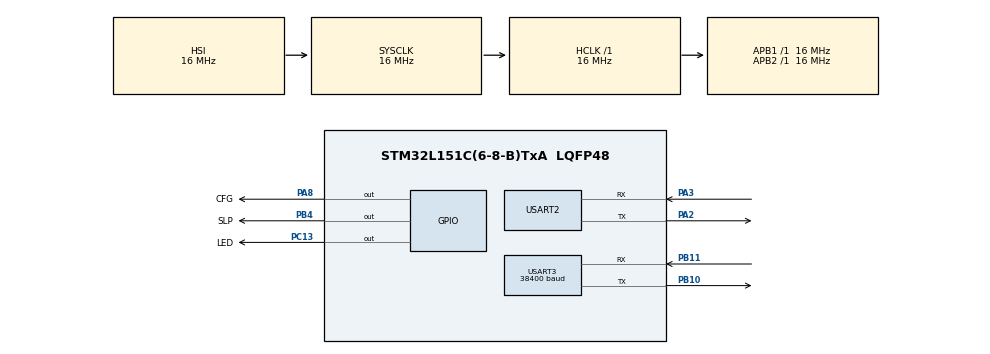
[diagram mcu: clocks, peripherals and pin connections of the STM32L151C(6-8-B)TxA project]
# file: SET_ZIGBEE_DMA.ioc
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Dma.Request0=USART3_RX
Dma.Request1=USART3_TX
Dma.Request2=USART2_RX
Dma.Request3=USART2_TX
Dma.USART2_RX.2.Direction=DMA_PERIPH_TO_MEMORY
Dma.USART2_RX.2.Instance=DMA1_Channel6
Dma.USART2_RX.2.MemDataAlignment=DMA_MDATAALIGN_BYTE
Dma.USART2_RX.2.MemInc=DMA_MINC_ENABLE
Dma.USART2_RX.2.Mode=DMA_NORMAL
Dma.USART2_RX.2.PeriphDataAlignment=DMA_PDATAALIGN_BYTE
Dma.USART2_RX.2.PeriphInc=DMA_PINC_DISABLE
Dma.USART2_RX.2.Priority=DMA_PRIORITY_LOW
Dma.USART2_TX.3.Direction=DMA_MEMORY_TO_PERIPH
Dma.USART2_TX.3.Instance=DMA1_Channel7
Dma.USART2_TX.3.MemDataAlignment=DMA_MDATAALIGN_BYTE
Dma.USART2_TX.3.MemInc=DMA_MINC_ENABLE
Dma.USART2_TX.3.Mode=DMA_NORMAL
Dma.USART2_TX.3.PeriphDataAlignment=DMA_PDATAALIGN_BYTE
Dma.USART2_TX.3.PeriphInc=DMA_PINC_DISABLE
Dma.USART2_TX.3.Priority=DMA_PRIORITY_LOW
Dma.USART3_RX.0.Direction=DMA_PERIPH_TO_MEMORY
Dma.USART3_RX.0.Instance=DMA1_Channel3
Dma.USART3_RX.0.MemDataAlignment=DMA_MDATAALIGN_BYTE
Dma.USART3_RX.0.MemInc=DMA_MINC_ENABLE
Dma.USART3_RX.0.Mode=DMA_NORMAL
Dma.USART3_RX.0.PeriphDataAlignment=DMA_PDATAALIGN_BYTE
Dma.USART3_RX.0.PeriphInc=DMA_PINC_DISABLE
Dma.USART3_RX.0.Priority=DMA_PRIORITY_LOW
Dma.USART3_TX.1.Direction=DMA_MEMORY_TO_PERIPH
Dma.USART3_TX.1.Instance=DMA1_Channel2
Dma.USART3_TX.1.MemDataAlignment=DMA_MDATAALIGN_BYTE
Dma.USART3_TX.1.MemInc=DMA_MINC_ENABLE
Dma.USART3_TX.1.Mode=DMA_NORMAL
Dma.USART3_TX.1.PeriphDataAlignment=DMA_PDATAALIGN_BYTE
Dma.USART3_TX.1.PeriphInc=DMA_PINC_DISABLE
Dma.USART3_TX.1.Priority=DMA_PRIORITY_LOW
Mcu.Family=STM32L1
Mcu.Name=STM32L151C(6-8-B)TxA
Mcu.Package=LQFP48
NVIC.DMA1_Channel2_IRQn=true\:2\:0\:true\:false\:true\:false\:true\:true
NVIC.DMA1_Channel3_IRQn=true\:2\:0\:true\:false\:true\:false\:true\:true
NVIC.DMA1_Channel6_IRQn=true\:2\:0\:true\:false\:true\:false\:true\:true
NVIC.DMA1_Channel7_IRQn=true\:2\:0\:true\:false\:true\:false\:true\:true
NVIC.PriorityGroup=NVIC_PRIORITYGROUP_4
NVIC.USART2_IRQn=true\:0\:0\:true\:false\:true\:true\:true\:true
NVIC.USART3_IRQn=true\:0\:0\:true\:false\:true\:true\:true\:true
PA13.Mode=Serial_Wire
PA13.Signal=SYS_JTMS-SWDIO
PA14.Mode=Serial_Wire
PA14.Signal=SYS_JTCK-SWCLK
PA2.Mode=Asynchronous
PA2.Signal=USART2_TX
PA3.Mode=Asynchronous
PA3.Signal=USART2_RX
PA8.GPIO_Label=CFG
PA8.PinState=GPIO_PIN_SET
PA8.Signal=GPIO_Output
PB10.Mode=Asynchronous
PB10.Signal=USART3_TX
PB11.Mode=Asynchronous
PB11.Signal=USART3_RX
PB4.GPIO_Label=SLP
PB4.PinState=GPIO_PIN_SET
PB4.Signal=GPIO_Output
PC13-WKUP2.GPIO_Label=LED
PC13-WKUP2.GPIO_ModeDefaultOutputPP=GPIO_MODE_OUTPUT_OD
PC13-WKUP2.GPIO_PuPd=GPIO_NOPULL
PC13-WKUP2.PinState=GPIO_PIN_RESET
PC13-WKUP2.Signal=GPIO_Output
ProjectManager.HeapSize=0x200
ProjectManager.StackSize=0x400
ProjectManager.TargetToolchain=MDK-ARM V5.32
RCC.48MHZClocksFreq_Value=24000000
RCC.AHBFreq_Value=16000000
RCC.APB1Freq_Value=16000000
RCC.APB1TimFreq_Value=16000000
RCC.APB2Freq_Value=16000000
RCC.APB2TimFreq_Value=16000000
RCC.HCLKFreq_Value=16000000
RCC.HSE_VALUE=8000000
RCC.HSI_VALUE=16000000
RCC.LSE_VALUE=32768
RCC.MSI_VALUE=2097000
RCC.RTCClockSelection=RCC_RTCCLKSOURCE_LSE
RCC.RTCClockSelectionVirtual=RCC_RTCCLKSOURCE_LSE
RCC.SYSCLKFreq_VALUE=16000000
RCC.SYSCLKSource=RCC_SYSCLKSOURCE_HSI
RCC.VCOOutputFreq_Value=48000000
USART2.VirtualMode=VM_ASYNC
USART3.BaudRate=38400
USART3.VirtualMode=VM_ASYNC
board=custom

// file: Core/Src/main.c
/* USER CODE BEGIN Header */
/**
 ******************************************************************************
 * @file           : main.c
 * @brief          : Main program body
 ******************************************************************************
 * @attention
 *
 * Copyright (c) 2026 STMicroelectronics.
 * All rights reserved.
 *
 * This software is licensed under terms that can be found in the LICENSE file
 * in the root directory of this software component.
 * If no LICENSE file comes with this software, it is provided AS-IS.
 *
 ******************************************************************************
 */
/* USER CODE END Header */
#include "main.h"
#include "dma.h"
#include "usart.h"
#include "gpio.h"

/* USER CODE BEGIN Includes */
#include "zigbee.h"
/* USER CODE END Includes */

/* USER CODE BEGIN PD */
#define len_CMD 2
#define len_CFG 15
volatile uint8_t flag_computerRE = RESET;
volatile uint8_t flag_zigbeeRE = RESET;
volatile uint8_t flag_usart3_TS = RESET;
uint8_t CMD_Buff[len_CMD];
uint8_t CFG_Buff[len_CFG];
uint8_t ZIGBEE_CFGrst[2] = {0x23, 0x23}; // 设备重启 CFG 必须高电平
/* USER CODE END PD */

void SystemClock_Config(void);

int main(void)
{

    /* MCU Configuration--------------------------------------------------------*/

    /* Reset of all peripherals, Initializes the Flash interface and the Systick. */
    HAL_Init();

    /* Configure the system clock */
    SystemClock_Config();

    /* Initialize all configured peripherals */
    MX_GPIO_Init();
    MX_DMA_Init();
    MX_USART2_UART_Init();
    MX_USART3_UART_Init();
    /* USER CODE BEGIN 2 */
    HAL_UART_Transmit_DMA(&huart2, (uint8_t *)"At your service\r\n", 17);
    HAL_UART_Receive_DMA(&huart2, CMD_Buff, len_CMD);
    /* USER CODE END 2 */

    /* Infinite loop */
    /* USER CODE BEGIN WHILE */
    while (1)
    {
        if (flag_computerRE == SET && huart2.gState == HAL_UART_STATE_READY)
        {
            if (CMD_Buff[0] == '#' && CMD_Buff[1] == 'A')
            {
                ST_Zigbee_CFGset();
            }
            else if (CMD_Buff[0] == '#' && CMD_Buff[1] == 'B')
            {
                ST_Zigbee_CFGget(CFG_Buff);
            }
            else
            {
                HAL_UART_Transmit_DMA(&huart2, (uint8_t *)"Invalid Command\r\n", 17);
            }
            HAL_UART_Receive_DMA(&huart2, CMD_Buff, len_CMD); // 接受下一条指令
            flag_computerRE = RESET;
        }

        if (flag_usart3_TS == SET)
        {
            HAL_UART_Transmit(&huart3, ZIGBEE_CFGrst, 2, 100);
            HAL_UART_Transmit_DMA(&huart2, (uint8_t *)"MISSION COMPLETE\r\n", 18);
            flag_usart3_TS = RESET;
            led_on;
        }

        if (flag_zigbeeRE == SET)
        {
            HAL_UART_Transmit(&huart2, CFG_Buff, len_CFG, 200);
            HAL_UART_Transmit_DMA(&huart2, (uint8_t *)"MISSION COMPLETE\r\n", 18);
            flag_zigbeeRE = RESET;
            led_on;
        }

        /* USER CODE END WHILE */

    }
}

void SystemClock_Config(void)
{
    RCC_OscInitTypeDef RCC_OscInitStruct = {0};
    RCC_ClkInitTypeDef RCC_ClkInitStruct = {0};

    /** Configure the main internal regulator output voltage
     */
    __HAL_PWR_VOLTAGESCALING_CONFIG(PWR_REGULATOR_VOLTAGE_SCALE1);

    /** Initializes the RCC Oscillators according to the specified parameters
     * in the RCC_OscInitTypeDef structure.
     */
    RCC_OscInitStruct.OscillatorType = RCC_OSCILLATORTYPE_HSI;
    RCC_OscInitStruct.HSIState = RCC_HSI_ON;
    RCC_OscInitStruct.HSICalibrationValue = RCC_HSICALIBRATION_DEFAULT;
    RCC_OscInitStruct.PLL.PLLState = RCC_PLL_NONE;
    if (HAL_RCC_OscConfig(&RCC_OscInitStruct) != HAL_OK)
    {
        Error_Handler();
    }

    /** Initializes the CPU, AHB and APB buses clocks
     */
    RCC_ClkInitStruct.ClockType = RCC_CLOCKTYPE_HCLK | RCC_CLOCKTYPE_SYSCLK | RCC_CLOCKTYPE_PCLK1 | RCC_CLOCKTYPE_PCLK2;
    RCC_ClkInitStruct.SYSCLKSource = RCC_SYSCLKSOURCE_HSI;
    RCC_ClkInitStruct.AHBCLKDivider = RCC_SYSCLK_DIV1;
    RCC_ClkInitStruct.APB1CLKDivider = RCC_HCLK_DIV1;
    RCC_ClkInitStruct.APB2CLKDivider = RCC_HCLK_DIV1;

    if (HAL_RCC_ClockConfig(&RCC_ClkInitStruct, FLASH_LATENCY_0) != HAL_OK)
    {
        Error_Handler();
    }
}

/* USER CODE BEGIN 4 */
void HAL_UART_RxCpltCallback(UART_HandleTypeDef *huart)
{
    if (huart->Instance == USART3)
    {
        flag_zigbeeRE = SET;
    }
    else if (huart->Instance == USART2)
    {
        flag_computerRE = SET;
    }
}
void HAL_UART_TxCpltCallback(UART_HandleTypeDef *huart)
{
    if (huart->Instance == USART3)
    {
        flag_usart3_TS = SET;
    }
}
/* USER CODE END 4 */

void Error_Handler(void)
{
    __disable_irq();
    while (1)
    {
    }
}
